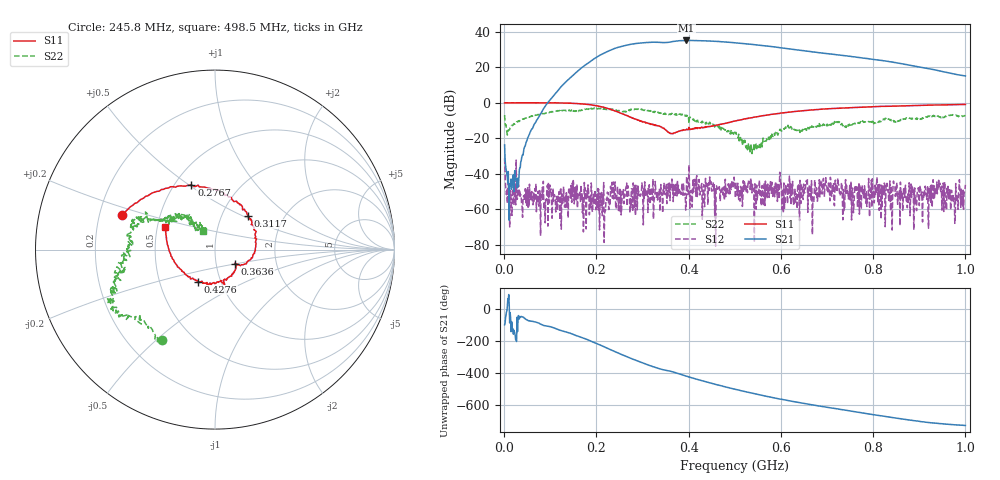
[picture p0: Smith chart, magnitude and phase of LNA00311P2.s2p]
! Created with skrf 1.9.0 (http://scikit-rf.org).
# Hz S RI R 50.0
!freq ReS11 ImS11 ReS21 ImS21 ReS12 ImS12 ReS22 ImS22
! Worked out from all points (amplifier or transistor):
!   1001 points, 1 MHz to 1 GHz, reference 50 ohm
!   highest |S21| = 35.0 dB at 394.6 MHz (marker M1)
!   |S21| within 3 dB of that: 259.9 MHz to 565.3 MHz (305.4 MHz wide, 74 % of centre)
!   unconditionally stable (mu >= 1): 4.512 MHz to 84.68 MHz; 298.8 MHz to 400.3 MHz; 401.1 MHz to end of sweep (the widest 3 of 29)
!   at 166.8 MHz: K = 1.47, MAG = 28.7 dB, |S12| = -46.2 dB
!   at 500.5 MHz: K = 2.07, MAG = 34.4 dB, |S12| = -46.7 dB
!   at 1 GHz: K = 2.52, MAG = 23.8 dB, |S12| = -46.2 dB
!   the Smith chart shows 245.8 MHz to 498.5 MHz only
!   S11 on the Smith chart (normalised r, x): 245.8 MHz: 0.30, +0.16; 276.7 MHz: 0.61, +0.51; 311.7 MHz: 1.32, +0.54; 363.6 MHz: 1.23, -0.20; 427.6 MHz: 0.78, -0.29; 498.5 MHz: 0.55, +0.15
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1000000  0.9895 0.015  -0.0069 -0.065  -0.0233 -0.0141  0.2702 0.3609
1.08892e8  0.5142 -0.8487  -0.7525 -1.48  0.00167 -0.00202  0.4505 -0.3451
1.67833e8  -0.2415 -0.8952  -9.573 -0.765  -0.00131 -0.0019  0.067 -0.6255
2.11789e8  -0.6859 -0.3451  -15.38 17.23  -0.0031 -0.000456  -0.1576 -0.6671
2.27773e8  -0.6687 -0.066  -10.2 27.06  -0.000997 0.000256  -0.2353 -0.6003
2.45755e8  -0.5194 0.1915  1.188 35.56  -0.00315 -0.00311  -0.2968 -0.5038
2.76724e8  -0.1312 0.36  28.32 33.92  -0.0011 0.00366  -0.5348 -0.3702
3.11689e8  0.1828 0.1895  48.15 10.14  -0.000814 -0.000144  -0.563 -0.2232
3.34666e8  0.2246 -0.0026  49.04 -9.349  -0.00267 0.000803  -0.528 -0.0763
3.63637e8  0.1107 -0.0793  44.69 -26.53  0.00148 0.00703  -0.4991 0.0791
3.94606e8  0.0689 -0.159  29.08 -48.21  -0.00099 0.000608  -0.4156 0.1554
4.27573e8  -0.0931 -0.1789  3.319 -55.18  0.0031 0.00386  -0.2213 0.1673
4.59541e8  -0.221 -0.0764  -19.76 -49.31  0.00297 0.0025  -0.1515 0.1695
4.98502e8  -0.2773 0.1277  -37.52 -31.13  0.00642 0.00495  -0.0683 0.1052
5.005e8  -0.275 0.1325  -38.32 -30.14  -0.00203 0.00412  -0.0734 0.122
5.39461e8  -0.1925 0.3341  -42.35 -9.137  0.0037 -5.85e-05  -0.0506 0.00396
5.88412e8  0.0212 0.4881  -34.83 11.42  0.00276 -0.00539  -0.1139 -0.0921
6.67333e8  0.3955 0.4861  -13.58 23.2  -0.00212 -0.0021  -0.2171 -0.0547
7.55245e8  0.6784 0.2674  3.574 19.35  -0.00397 -0.000577  -0.247 0.0161
8.34166e8  0.7963 0.0104  10.38 9.998  -0.000811 -0.0016  -0.3451 -0.0245
9.13087e8  0.8093 -0.2669  9.189 1.852  -0.00451 0.000118  -0.3674 0.1258
1e9  0.7211 -0.5323  5.585 -0.9197  -0.00158 0.00467  -0.3319 0.266
